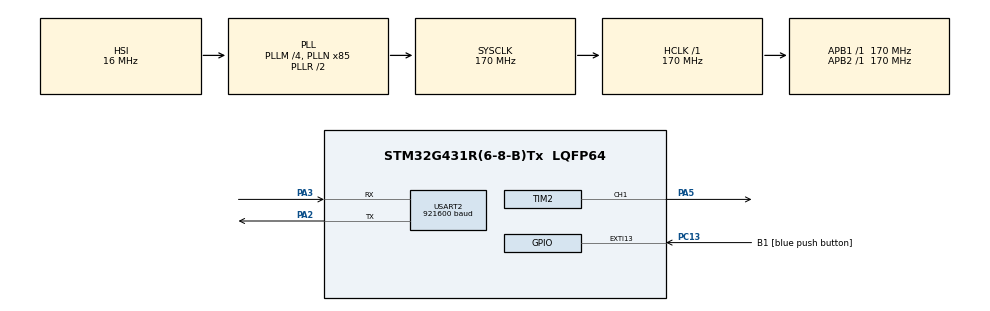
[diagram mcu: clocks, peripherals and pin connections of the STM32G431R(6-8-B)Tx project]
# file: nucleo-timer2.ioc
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Mcu.Family=STM32G4
Mcu.Name=STM32G431R(6-8-B)Tx
Mcu.Package=LQFP64
NVIC.PriorityGroup=NVIC_PRIORITYGROUP_4
NVIC.USART2_IRQn=true\:0\:0\:false\:false\:true\:true\:true\:true
PA13.GPIO_Label=T_SWDIO
PA13.Signal=SYS_JTMS-SWDIO
PA14.GPIO_Label=T_SWCLK
PA14.Signal=SYS_JTCK-SWCLK
PA2.Mode=Asynchronous
PA2.Signal=USART2_TX
PA3.Mode=Asynchronous
PA3.Signal=USART2_RX
PA5.Signal=S_TIM2_CH1
PB3.GPIO_Label=T_SWO
PB3.Signal=SYS_JTDO-SWO
PC13.GPIO_Label=B1 [blue push button]
PC13.Signal=GPXTI13
PC14-OSC32_IN.GPIO_Label=RCC_OSC32_OUT
PC14-OSC32_IN.Signal=RCC_OSC32_IN
PC15-OSC32_OUT.GPIO_Label=RCC_OSC32_OUT
PC15-OSC32_OUT.Signal=RCC_OSC32_OUT
PF0-OSC_IN.GPIO_Label=RCC_OSC_IN
PF0-OSC_IN.Signal=RCC_OSC_IN
PF1-OSC_OUT.GPIO_Label=RCC_OSC_OUT
PF1-OSC_OUT.Signal=RCC_OSC_OUT
ProjectManager.HeapSize=0x200
ProjectManager.StackSize=0x400
ProjectManager.TargetToolchain=STM32CubeIDE
RCC.ADC12Freq_Value=170000000
RCC.AHBFreq_Value=170000000
RCC.APB1Freq_Value=170000000
RCC.APB1TimFreq_Value=170000000
RCC.APB2Freq_Value=170000000
RCC.APB2TimFreq_Value=170000000
RCC.CortexFreq_Value=170000000
RCC.EXTERNAL_CLOCK_VALUE=12288000
RCC.HCLKFreq_Value=170000000
RCC.HSE_VALUE=24000000
RCC.HSI48_VALUE=48000000
RCC.HSI_VALUE=16000000
RCC.LSE_VALUE=32768
RCC.PLLM=RCC_PLLM_DIV4
RCC.PLLN=85
RCC.RTCClockSelection=RCC_RTCCLKSOURCE_LSE
RCC.SYSCLKFreq_VALUE=170000000
RCC.SYSCLKSource=RCC_SYSCLKSOURCE_PLLCLK
RCC.USBFreq_Value=170000000
RCC.VCOOutputFreq_Value=340000000
SH.S_TIM2_CH1.0=TIM2_CH1,PWM Generation1 CH1
TIM2.Channel-PWM\ Generation1\ CH1=TIM_CHANNEL_1
TIM2.PeriodNoDither=3400-1
TIM2.Prescaler=50000-1
TIM2.PulseNoDither_1=1700
USART2.BaudRate=921600
USART2.VirtualMode-Asynchronous=VM_ASYNC
VP_SYS_VS_DBSignals.Mode=DisableDeadBatterySignals
VP_TIM2_VS_ClockSourceINT.Mode=Internal
board=NUCLEO-G431RB

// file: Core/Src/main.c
/* USER CODE BEGIN Header */
/**
  ******************************************************************************
  * @file           : main.c
  * @brief          : Main program body
  ******************************************************************************
  * @attention
  *
  * Copyright (c) 2025 STMicroelectronics.
  * All rights reserved.
  *
  * This software is licensed under terms that can be found in the LICENSE file
  * in the root directory of this software component.
  * If no LICENSE file comes with this software, it is provided AS-IS.
  *
  ******************************************************************************
  */
/* USER CODE END Header */
#include "main.h"

/* USER CODE BEGIN Includes */
#include <stdio.h>

/* USER CODE END Includes */

TIM_HandleTypeDef htim2;

UART_HandleTypeDef huart2;

void SystemClock_Config(void);
static void MX_GPIO_Init(void);
static void MX_USART2_UART_Init(void);
static void MX_TIM2_Init(void);

/* USER CODE BEGIN 0 */

// Send printf to uart1
int _write(int fd, char* ptr, int len)
{
  HAL_StatusTypeDef hstatus;

  if (fd == 1 || fd == 2) {
    hstatus = HAL_UART_Transmit(&huart2, (uint8_t *) ptr, len, HAL_MAX_DELAY);
    if (hstatus == HAL_OK)
      return len;
    else
      return -1;
  }
  return -1;
}

/* USER CODE END 0 */

int main(void)
{

  /* MCU Configuration--------------------------------------------------------*/

  /* Reset of all peripherals, Initializes the Flash interface and the Systick. */
  HAL_Init();

  /* Configure the system clock */
  SystemClock_Config();

  /* Initialize all configured peripherals */
  MX_GPIO_Init();
  MX_USART2_UART_Init();
  MX_TIM2_Init();
  /* USER CODE BEGIN 2 */
  printf("Starting timer2\n");

  HAL_TIM_PWM_Start(&htim2, TIM_CHANNEL_1);

  /* USER CODE END 2 */

  /* Infinite loop */
  /* USER CODE BEGIN WHILE */
  uint32_t now = 0;
  uint32_t next_tick = 1000;
  uint32_t loop_count = 0;

  while (1)
  {
	  now = HAL_GetTick();

	  if(now >= next_tick) {
		  printf("Tick %lu (loop = %lu)\n", now / 1000, loop_count);

		  loop_count = 0;
		  next_tick = now + 1000;
	  }

	  ++loop_count;

    /* USER CODE END WHILE */

  }
}

void SystemClock_Config(void)
{
  RCC_OscInitTypeDef RCC_OscInitStruct = {0};
  RCC_ClkInitTypeDef RCC_ClkInitStruct = {0};

  /** Configure the main internal regulator output voltage
  */
  HAL_PWREx_ControlVoltageScaling(PWR_REGULATOR_VOLTAGE_SCALE1_BOOST);

  /** Initializes the RCC Oscillators according to the specified parameters
  * in the RCC_OscInitTypeDef structure.
  */
  RCC_OscInitStruct.OscillatorType = RCC_OSCILLATORTYPE_HSI;
  RCC_OscInitStruct.HSIState = RCC_HSI_ON;
  RCC_OscInitStruct.HSICalibrationValue = RCC_HSICALIBRATION_DEFAULT;
  RCC_OscInitStruct.PLL.PLLState = RCC_PLL_ON;
  RCC_OscInitStruct.PLL.PLLSource = RCC_PLLSOURCE_HSI;
  RCC_OscInitStruct.PLL.PLLM = RCC_PLLM_DIV4;
  RCC_OscInitStruct.PLL.PLLN = 85;
  RCC_OscInitStruct.PLL.PLLP = RCC_PLLP_DIV2;
  RCC_OscInitStruct.PLL.PLLQ = RCC_PLLQ_DIV2;
  RCC_OscInitStruct.PLL.PLLR = RCC_PLLR_DIV2;
  if (HAL_RCC_OscConfig(&RCC_OscInitStruct) != HAL_OK)
  {
    Error_Handler();
  }

  /** Initializes the CPU, AHB and APB buses clocks
  */
  RCC_ClkInitStruct.ClockType = RCC_CLOCKTYPE_HCLK|RCC_CLOCKTYPE_SYSCLK
                              |RCC_CLOCKTYPE_PCLK1|RCC_CLOCKTYPE_PCLK2;
  RCC_ClkInitStruct.SYSCLKSource = RCC_SYSCLKSOURCE_PLLCLK;
  RCC_ClkInitStruct.AHBCLKDivider = RCC_SYSCLK_DIV1;
  RCC_ClkInitStruct.APB1CLKDivider = RCC_HCLK_DIV1;
  RCC_ClkInitStruct.APB2CLKDivider = RCC_HCLK_DIV1;

  if (HAL_RCC_ClockConfig(&RCC_ClkInitStruct, FLASH_LATENCY_4) != HAL_OK)
  {
    Error_Handler();
  }
}

static void MX_TIM2_Init(void)
{

  TIM_ClockConfigTypeDef sClockSourceConfig = {0};
  TIM_MasterConfigTypeDef sMasterConfig = {0};
  TIM_OC_InitTypeDef sConfigOC = {0};

  htim2.Instance = TIM2;
  htim2.Init.Prescaler = 50000-1;
  htim2.Init.CounterMode = TIM_COUNTERMODE_UP;
  htim2.Init.Period = 3399;
  htim2.Init.ClockDivision = TIM_CLOCKDIVISION_DIV1;
  htim2.Init.AutoReloadPreload = TIM_AUTORELOAD_PRELOAD_DISABLE;
  if (HAL_TIM_Base_Init(&htim2) != HAL_OK)
  {
    Error_Handler();
  }
  sClockSourceConfig.ClockSource = TIM_CLOCKSOURCE_INTERNAL;
  if (HAL_TIM_ConfigClockSource(&htim2, &sClockSourceConfig) != HAL_OK)
  {
    Error_Handler();
  }
  if (HAL_TIM_PWM_Init(&htim2) != HAL_OK)
  {
    Error_Handler();
  }
  sMasterConfig.MasterOutputTrigger = TIM_TRGO_RESET;
  sMasterConfig.MasterSlaveMode = TIM_MASTERSLAVEMODE_DISABLE;
  if (HAL_TIMEx_MasterConfigSynchronization(&htim2, &sMasterConfig) != HAL_OK)
  {
    Error_Handler();
  }
  sConfigOC.OCMode = TIM_OCMODE_PWM1;
  sConfigOC.Pulse = 1700;
  sConfigOC.OCPolarity = TIM_OCPOLARITY_HIGH;
  sConfigOC.OCFastMode = TIM_OCFAST_DISABLE;
  if (HAL_TIM_PWM_ConfigChannel(&htim2, &sConfigOC, TIM_CHANNEL_1) != HAL_OK)
  {
    Error_Handler();
  }
  HAL_TIM_MspPostInit(&htim2);

}

static void MX_USART2_UART_Init(void)
{

  huart2.Instance = USART2;
  huart2.Init.BaudRate = 921600;
  huart2.Init.WordLength = UART_WORDLENGTH_8B;
  huart2.Init.StopBits = UART_STOPBITS_1;
  huart2.Init.Parity = UART_PARITY_NONE;
  huart2.Init.Mode = UART_MODE_TX_RX;
  huart2.Init.HwFlowCtl = UART_HWCONTROL_NONE;
  huart2.Init.OverSampling = UART_OVERSAMPLING_16;
  huart2.Init.OneBitSampling = UART_ONE_BIT_SAMPLE_DISABLE;
  huart2.Init.ClockPrescaler = UART_PRESCALER_DIV1;
  huart2.AdvancedInit.AdvFeatureInit = UART_ADVFEATURE_NO_INIT;
  if (HAL_UART_Init(&huart2) != HAL_OK)
  {
    Error_Handler();
  }
  if (HAL_UARTEx_SetTxFifoThreshold(&huart2, UART_TXFIFO_THRESHOLD_1_8) != HAL_OK)
  {
    Error_Handler();
  }
  if (HAL_UARTEx_SetRxFifoThreshold(&huart2, UART_RXFIFO_THRESHOLD_1_8) != HAL_OK)
  {
    Error_Handler();
  }
  if (HAL_UARTEx_DisableFifoMode(&huart2) != HAL_OK)
  {
    Error_Handler();
  }

}

static void MX_GPIO_Init(void)
{
  GPIO_InitTypeDef GPIO_InitStruct = {0};

  /* GPIO Ports Clock Enable */
  __HAL_RCC_GPIOC_CLK_ENABLE();
  __HAL_RCC_GPIOF_CLK_ENABLE();
  __HAL_RCC_GPIOA_CLK_ENABLE();
  __HAL_RCC_GPIOB_CLK_ENABLE();

  /*Configure GPIO pin : B1_Pin */
  GPIO_InitStruct.Pin = B1_Pin;
  GPIO_InitStruct.Mode = GPIO_MODE_IT_RISING;
  GPIO_InitStruct.Pull = GPIO_NOPULL;
  HAL_GPIO_Init(B1_GPIO_Port, &GPIO_InitStruct);

}

void Error_Handler(void)
{
  __disable_irq();
  while (1)
  {
  }
}
